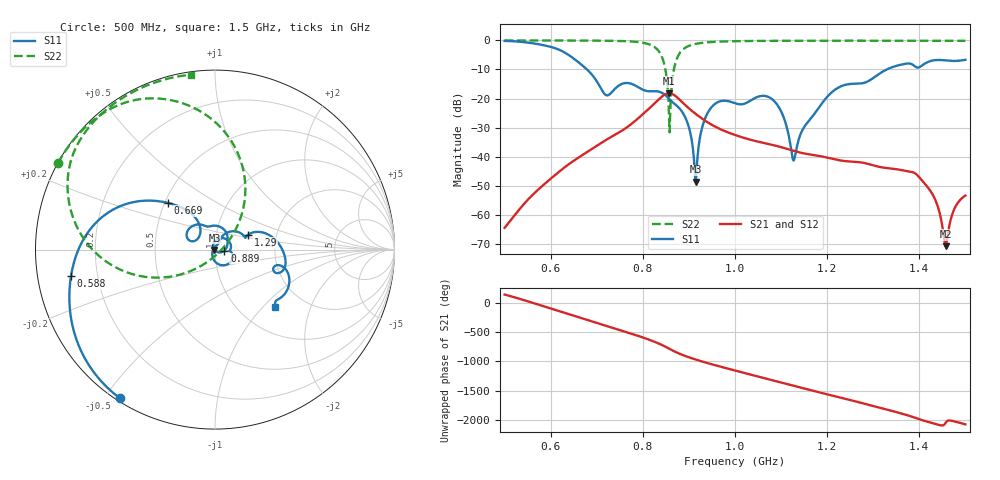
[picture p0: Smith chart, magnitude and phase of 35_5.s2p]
! TOUCHSTONE file generated by CST MICROWAVE STUDIO
! Date and time: Fri Oct  2 19:16:15 2020
! Project name: Scenario_1_Free_Space_out_of_line.cst
! Parameters = {Lambda=346.42; Step_1=17.321; dy1=-241.954; dx1=866; L_HA=400; MT=2.54; Rad_Dielectric=30; Rad_Lower=7.3; Rad_Upper=30; a_HA=580; a_WG=246; b_HA=500; b_WG=121; c_HA=0; c_WG=187; d_feed=85; h_feed=15; h_lower=18; h_upper=40}
! Header version: 2018
! Port assignment regex: !\s*Touchstone port\s*([0-9]+)\s*=\s*(CST MWS port|CST DS port)\s*([0-9]+|Zmin|Zmax)\s*\(\"(.*)\"\)(\s*mode\s*([0-9]+))?.*
! Touchstone port assignment:
! Touchstone port 1 = CST MWS port 1 ("")
! Touchstone port 2 = CST MWS port 2 ("")
# GHz S DB R 50
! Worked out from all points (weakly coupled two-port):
!   1003 points, 500 MHz to 1.5 GHz, reference 50 ohm
!   highest |S21| = -18.16 dB at 857 MHz (marker M1); lowest = -70.8 dB at 1.457 GHz (marker M2)
!   lowest |S11| = -48.6 dB at 915 MHz (marker M3), VSWR 1.01, Z = 49.7 - j0.149 ohm
!   |S11| at or under -10 dB: 678.8 MHz to 1.329 GHz (650.3 MHz wide, 64.8 % of centre)
!   |S22| runs from -31.6 to 0.0 dB; largest |S21 - S12| = 5.9e-05
!   S11 on the Smith chart (normalised r, x): 500 MHz: 0.01, -0.55; 588 MHz: 0.10, -0.09; 669 MHz: 0.52, +0.31; 889 MHz: 1.11, -0.01; 1.29 GHz: 1.42, +0.24; 1.5 GHz: 1.43, -1.18
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0.5  -0.15 -122.6  -64.50 137.4  -64.50 137.4  -0.01 151.1
0.588  -1.76 -169.5  -49.23 -69.7  -49.23 -69.7  -0.02 145.0
0.667  -8.36 136.4  -39.64 95.0  -39.63 95.0  -0.04 138.3
0.669  -8.63 135.3  -39.43 90.1  -39.43 90.1  -0.04 138.1
0.721  -18.87 141.8  -34.17 -38.3  -34.16 -38.3  -0.11 132.0
0.834  -17.60 82.4  -20.39 24.4  -20.39 24.4  -3.58 85.7
0.847  -18.59 60.7  -18.68 -23.5  -18.68 -23.5  -8.56 63.1
0.857  -20.09 45.0  -18.16 -64.7  -18.16 -64.7  -27.09 9.7
0.87  -22.01 27.9  -19.04 -117.2  -19.04 -117.2  -8.15 -156.7
0.889  -25.55 -5.9  -21.79 179.3  -21.79 179.3  -2.84 176.5
0.915  -48.63 -156.1  -25.33 109.3  -25.33 109.3  -1.19 159.8
0.943  -24.32 76.0  -28.41 43.6  -28.41 43.6  -0.61 150.5
1  -21.62 -2.3  -32.54 -77.2  -32.54 -77.2  -0.26 140.0
1.083  -20.55 -67.5  -36.03 111.6  -36.03 111.6  -0.13 131.1
1.127  -41.34 152.3  -38.00 21.3  -38.00 21.3  -0.11 127.3
1.167  -26.37 61.3  -39.36 -56.6  -39.36 -56.6  -0.09 124.0
1.22  -16.64 44.0  -41.04 -162.2  -41.04 -162.2  -0.09 120.0
1.29  -13.94 24.1  -42.57 56.3  -42.57 56.3  -0.08 114.7
1.334  -9.65 11.8  -44.01 -31.4  -44.00 -31.4  -0.09 111.3
1.417  -7.54 -16.8  -50.29 132.2  -50.28 132.2  -0.11 104.8
1.457  -6.88 -36.6  -70.81 109.2  -70.73 109.2  -0.12 101.5
1.5  -6.67 -44.0  -53.40 86.0  -53.24 86.2  -0.14 97.7
